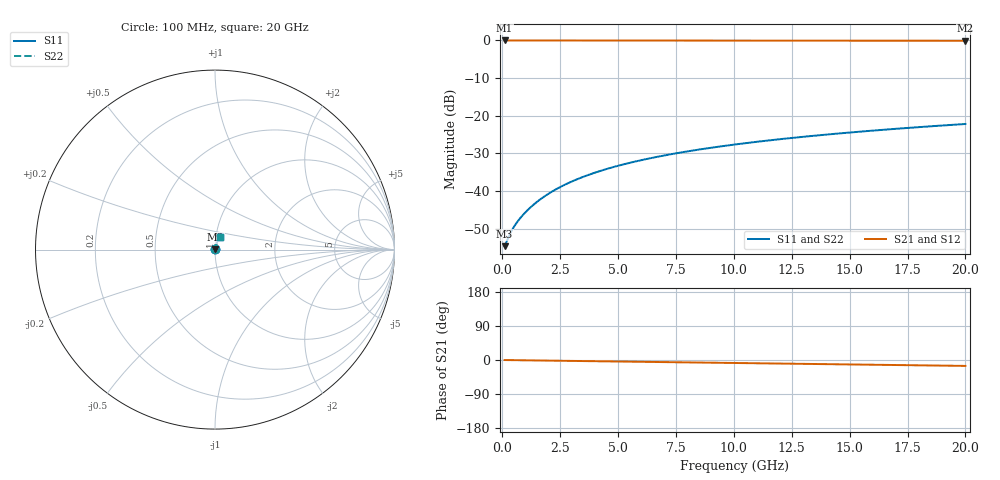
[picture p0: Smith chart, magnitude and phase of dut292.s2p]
! Touchstone file exported from HFSS 2026.1.0
!  File:  C:/ffzhzh/LocalFiles/Ansys_Project_Files/temp_train_TMRDL_292_1782985524_40604.aedt
!  Generated:  05:46:33 PM Jul  2, 2026
!  Design:  TMRDL
!  Project:  temp_train_TMRDL_292_1782985524_40604
! Variables:
!  h_bsmrdl = 2um
!  h_ox = 20um
!  h_rdl = 5um
!  h_sub = 80um
!  h_tmrdl = 3.42um
!  h_tsv = 80um
!  h_via = 3um
!  l_bsmrdl = 300um
!  l_sub = 656.08um
!  l_tmrdl = 256.08um
!  m_sub = 200um
!  pitch = 24.54um
!  r_tsv = 6um
!  s_tmrdl = 10um
!  w_bsmrdl = 18um
!  w_sub = 500um
!  w_tmrdl = 17.13um
!  x_tsv_center1 = 264.645um
!  x_tsv_center2 = 582.645um
!  x_tsv_center3 = 855.855um
!  x_tsv_center4 = 1173.855um
!  x_tsv_center5 = 1447.065um
!  x_tsv_center6 = 1765.065um
# GHz S MA R 50.000000
! Terminal data exported
! Port[1] = TM_RDL1_1_T1
! Port[2] = TM_RDL1_1_T2
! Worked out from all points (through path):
!   200 points, 100 MHz to 20 GHz, reference 50 ohm
!   highest |S21| = -0.02 dB at 100 MHz (marker M1); lowest = -0.1 dB at 20 GHz (marker M2)
!   group delay of S21, straight-line fit = 2.16 ps
!   lowest |S11| = -54.6 dB at 100 MHz (marker M3), VSWR 1.00, Z = 50.2 + j0.0595 ohm
!   |S11| at or under -10 dB: start of sweep to end of sweep
!   |S22| runs from -54.6 to -22.2 dB; largest |S21 - S12| = 3e-15
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0.1  0.001854 18.7  0.9982 -0.1  0.9982 -0.1  0.001854 18.7
! Gamma 0 0 0 0
! Port Impedance 50 0 50 0
0.3  0.002563 40.0  0.998 -0.3  0.998 -0.3  0.002563 40.0
0.4  0.002956 45.5  0.9979 -0.3  0.9979 -0.3  0.002956 45.5
0.6  0.003716 52.8  0.9978 -0.5  0.9978 -0.5  0.003716 52.8
0.9  0.004843 60.0  0.9976 -0.7  0.9976 -0.7  0.004843 60.0
1.1  0.005611 63.5  0.9975 -0.9  0.9975 -0.9  0.005611 63.5
1.3  0.006395 66.1  0.9975 -1.1  0.9975 -1.1  0.006395 66.1
1.5  0.007194 68.2  0.9974 -1.2  0.9974 -1.2  0.007194 68.2
1.8  0.008411 70.6  0.9974 -1.5  0.9974 -1.5  0.008411 70.6
2.3  0.01047 73.2  0.9972 -1.9  0.9972 -1.9  0.01047 73.2
2.9  0.01297 74.9  0.9971 -2.3  0.9971 -2.3  0.01297 74.9
3.5  0.01546 75.9  0.9969 -2.8  0.9969 -2.8  0.01546 75.9
4.2  0.01836 76.4  0.9966 -3.4  0.9966 -3.4  0.01836 76.4
5  0.02165 76.6  0.9962 -4.0  0.9962 -4.0  0.02165 76.6
5.9  0.0253 76.5  0.9958 -4.7  0.9958 -4.7  0.0253 76.5
6.8  0.0289 76.3  0.9954 -5.4  0.9954 -5.4  0.0289 76.3
8.3  0.03479 75.6  0.9947 -6.6  0.9947 -6.6  0.03479 75.6
10.1  0.0417 74.6  0.9938 -8.0  0.9938 -8.0  0.0417 74.6
11.7  0.04772 73.7  0.993 -9.2  0.993 -9.2  0.04772 73.7
13.4  0.054 72.6  0.9921 -10.5  0.9921 -10.5  0.054 72.6
16.7  0.06597 70.6  0.9905 -13.1  0.9905 -13.1  0.06597 70.6
20  0.07767 68.5  0.9889 -15.6  0.9889 -15.6  0.07766 68.5
